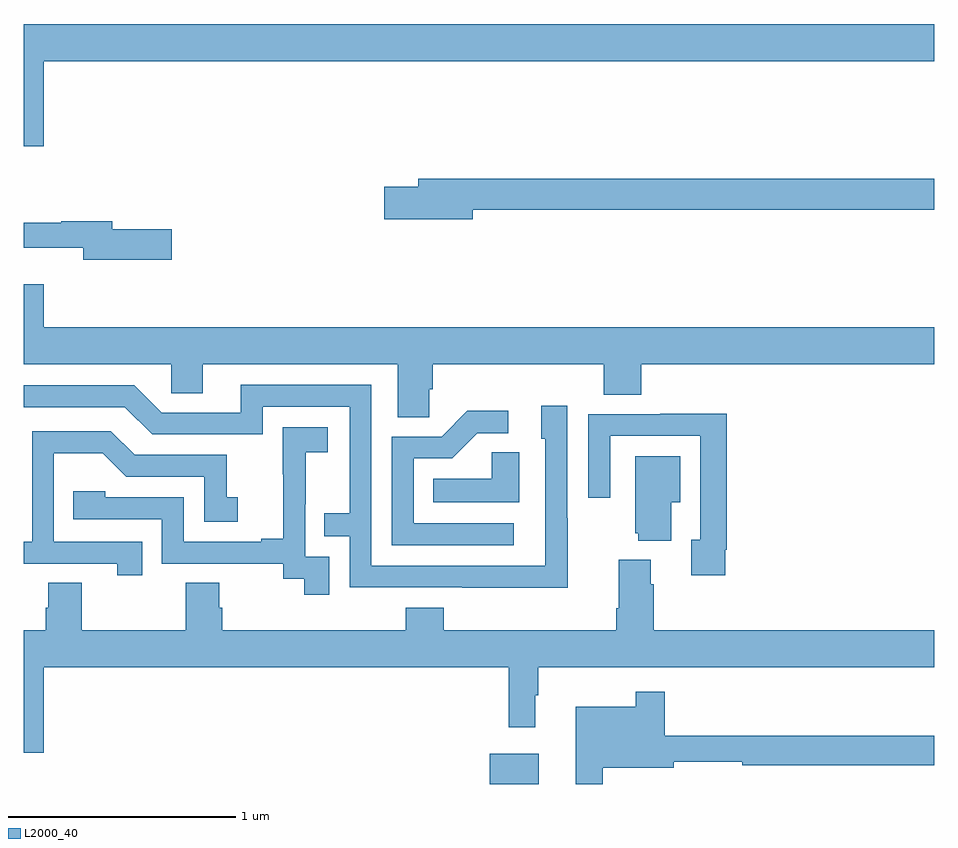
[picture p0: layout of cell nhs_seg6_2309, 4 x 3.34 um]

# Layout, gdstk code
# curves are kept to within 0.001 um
import gdstk
lib = gdstk.Library(unit=1e-6, precision=1e-09)
def R(c, l, rs):  # rectangles x0, y0, x1, y1
    for r in rs: c.add(gdstk.rectangle(r[:2], r[2:], *l))
def P(c, l, *ps):  # polygons
    for p in ps: c.add(gdstk.Polygon(p, *l))
L2000_40 = (2000, 40)

nhs_seg6_2309 = lib.new_cell('nhs_seg6_2309')
R(nhs_seg6_2309, L2000_40, [(251.048,937.5,251.263,937.633)])
P(nhs_seg6_2309, L2000_40, [(249,940.302),(249.088,940.302),(249.088,940.676),(253,940.676),(253,940.84),(249,940.84)],
  [(250.972,940.024),(253,940.024),(253,940.16),(250.733,940.16),(250.733,940.124),(250.584,940.124),(250.584,939.982),(250.972,939.982)],
  [(249.649,939.938),(249.388,939.938),(249.388,939.974),(249.164,939.974),(249.164,939.967),(249,939.967),(249,939.857),(249.26,939.857),(249.26,939.803),(249.649,939.803)],
  [(250.782,939.235),(250.796,939.235),(250.796,939.344),(251.549,939.344),(251.549,939.211),(251.714,939.211),(251.714,939.344),(253,939.344),(253,939.508),(249.088,939.508),(249.088,939.697),(249,939.697),(249,939.344),(249.648,939.344),(249.648,939.217),(249.787,939.217),(249.787,939.344),(250.643,939.344),(250.643,939.112),(250.782,939.112)],
  [(251.391,938.669),(251.388,938.669),(251.388,939.163),(251.273,939.163),(251.273,939.018),(251.292,939.018),(251.292,938.46),(250.527,938.46),(250.527,939.255),(249.953,939.255),(249.953,939.132),(249.606,939.132),(249.486,939.252),(249,939.252),(249,939.156),(249.444,939.156),(249.564,939.036),(250.05,939.036),(250.05,939.159),(250.431,939.159),(250.431,938.69),(250.321,938.69),(250.321,938.589),(250.431,938.589),(250.431,938.364),(251.391,938.363)],
  [(251.152,938.646),(250.713,938.646),(250.713,938.931),(250.882,938.931),(250.993,939.042),(251.128,939.042),(251.128,939.14),(250.949,939.14),(250.836,939.027),(250.617,939.027),(250.617,938.55),(251.152,938.55)],
  [(252.082,938.53),(252.089,938.53),(252.089,939.128),(251.797,939.128),(251.797,939.126),(251.481,939.126),(251.481,938.757),(251.577,938.757),(251.577,939.03),(251.973,939.03),(251.973,938.574),(251.933,938.574),(251.933,938.418),(252.082,938.418)],
  [(250.341,938.499),(250.236,938.499),(250.236,938.729),(250.238,938.729),(250.238,938.957),(250.336,938.957),(250.336,939.067),(250.138,939.067),(250.138,938.861),(250.139,938.861),(250.139,938.578),(250.043,938.578),(250.043,938.565),(249.702,938.565),(249.702,938.76),(249.357,938.76),(249.357,938.787),(249.217,938.787),(249.217,938.664),(249.606,938.664),(249.606,938.469),(250.14,938.469),(250.14,938.401),(250.233,938.401),(250.233,938.331),(250.341,938.331)],
  [(249.521,938.565),(249.132,938.565),(249.132,938.954),(249.346,938.954),(249.45,938.85),(249.792,938.85),(249.792,938.652),(249.94,938.652),(249.94,938.761),(249.891,938.761),(249.891,938.946),(249.487,938.946),(249.382,939.051),(249.036,939.051),(249.036,938.565),(249,938.565),(249,938.469),(249.41,938.469),(249.41,938.418),(249.521,938.418)],
  [(251.176,938.957),(251.055,938.957),(251.055,938.842),(250.798,938.842),(250.798,938.738),(251.176,938.738)],
  [(251.845,938.738),(251.884,938.738),(251.884,938.941),(251.687,938.941),(251.687,938.601),(251.699,938.601),(251.699,938.57),(251.845,938.57)],
  [(249.712,938.384),(249.712,938.176),(249.255,938.176),(249.255,938.384),(249.107,938.384),(249.107,938.274),(249.095,938.274),(249.095,938.176),(249,938.176),(249,937.638),(249.088,937.638),(249.088,938.012),(251.131,938.012),(251.131,937.749),(251.248,937.749),(251.248,937.889),(251.26,937.889),(251.26,938.012),(253,938.012),(253,938.176),(251.768,938.176),(251.768,938.378),(251.755,938.378),(251.755,938.485),(251.615,938.485),(251.615,938.272),(251.603,938.272),(251.603,938.176),(250.844,938.176),(250.844,938.275),(250.679,938.275),(250.679,938.176),(249.872,938.176),(249.872,938.274),(249.859,938.274),(249.859,938.384)],
  [(251.543,937.571),(251.856,937.571),(251.856,937.597),(252.156,937.597),(252.156,937.582),(253,937.582),(253,937.711),(251.816,937.711),(251.816,937.906),(251.688,937.906),(251.688,937.84),(251.426,937.84),(251.426,937.5),(251.543,937.5)])

lib.write_gds('nhs_seg6_2309.gds')
